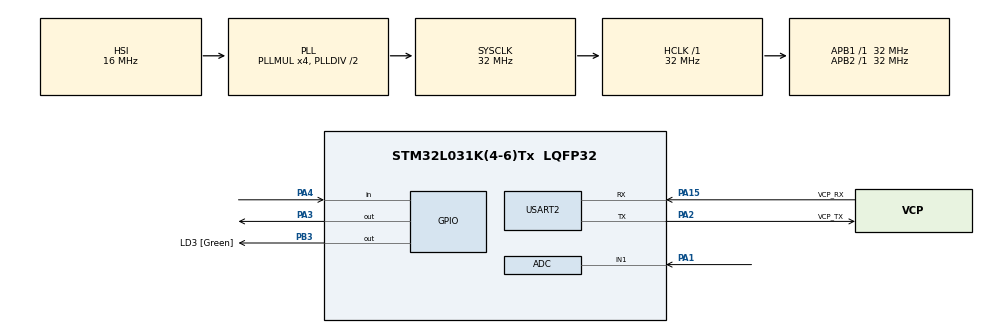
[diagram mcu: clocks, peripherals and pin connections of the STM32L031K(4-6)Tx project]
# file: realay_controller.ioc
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Mcu.Family=STM32L0
Mcu.Name=STM32L031K(4-6)Tx
Mcu.Package=LQFP32
PA0-CK_IN.Mode=SYS_WakeUp0
PA0-CK_IN.Signal=SYS_WKUP1
PA1.Mode=IN1
PA1.Signal=ADC_IN1
PA13.GPIO_Label=TMS
PA13.Mode=Serial_Wire
PA13.Signal=SYS_SWDIO
PA14.GPIO_Label=TCK
PA14.Mode=Serial_Wire
PA14.Signal=SYS_SWCLK
PA15.GPIO_Label=VCP_RX
PA15.Mode=Asynchronous
PA15.Signal=USART2_RX
PA2.GPIO_Label=VCP_TX
PA2.Mode=Asynchronous
PA2.Signal=USART2_TX
PA3.Signal=GPIO_Output
PA4.Signal=GPIO_Input
PB3.GPIO_Label=LD3 [Green]
PB3.Signal=GPIO_Output
PC14-OSC32_IN.Mode=LSE-External-Oscillator
PC14-OSC32_IN.Signal=RCC_OSC32_IN
PC15-OSC32_OUT.Mode=LSE-External-Oscillator
PC15-OSC32_OUT.Signal=RCC_OSC32_OUT
ProjectManager.HeapSize=0x200
ProjectManager.StackSize=0x400
ProjectManager.TargetToolchain=STM32CubeIDE
RCC.AHBFreq_Value=32000000
RCC.APB1Freq_Value=32000000
RCC.APB1TimFreq_Value=32000000
RCC.APB2Freq_Value=32000000
RCC.APB2TimFreq_Value=32000000
RCC.HCLKFreq_Value=32000000
RCC.HSE_VALUE=8000000
RCC.HSI16_VALUE=16000000
RCC.HSI48_VALUE=48000000
RCC.HSI_VALUE=16000000
RCC.MSI_VALUE=2097000
RCC.PLLMUL=RCC_PLLMUL_4
RCC.SYSCLKFreq_VALUE=32000000
RCC.SYSCLKSource=RCC_SYSCLKSOURCE_PLLCLK
RCC.VCOOutputFreq_Value=64000000
USART2.VirtualMode-Asynchronous=VM_ASYNC
board=NUCLEO-L031K6

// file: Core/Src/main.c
/* USER CODE BEGIN Header */
/**
  ******************************************************************************
  * @file           : main.c
  * @brief          : Main program body
  ******************************************************************************
  * @attention
  *
  * Copyright (c) 2025 STMicroelectronics.
  * All rights reserved.
  *
  * This software is licensed under terms that can be found in the LICENSE file
  * in the root directory of this software component.
  * If no LICENSE file comes with this software, it is provided AS-IS.
  *
  ******************************************************************************
  */
/* USER CODE END Header */
#include "main.h"

ADC_HandleTypeDef hadc;

UART_HandleTypeDef huart2;

/* USER CODE BEGIN PV */
uint32_t adc_value = 0; //stores value from adc input
float v_bat;
float v_adc;
HAL_StatusTypeDef sts;

#define ADC_MAX_VALUE 4095.0  // 12-bit ADC max value (0 - 4095)
#define VREF 3.3  // STM32 ADC reference voltage (V)
#define VOLTAGE_DIVIDER_RATIO 5.7  // (R1 + R2) / R2 = (47k + 10k) / 10k
/* USER CODE END PV */

void SystemClock_Config(void);
static void MX_GPIO_Init(void);
static void MX_USART2_UART_Init(void);
static void MX_ADC_Init(void);

/* USER CODE BEGIN 0 */
float battery_measure(){
	HAL_ADC_Start(&hadc);
	if (HAL_ADC_PollForConversion(&hadc, 100) == HAL_OK) {
		adc_value = HAL_ADC_GetValue(&hadc);  // Read ADC value
	}
	HAL_ADC_Stop(&hadc);  // Stop ADC

    // Convert ADC reading to voltage
    v_adc = (adc_value * VREF) / ADC_MAX_VALUE;
    v_bat = v_adc * VOLTAGE_DIVIDER_RATIO;  // Convert to actual battery voltage

    return v_bat;
}
/* USER CODE END 0 */

int main(void)
{

  /* USER CODE BEGIN 1 */
  uint32_t blink_rate = 1000; // Default blinking rate (1s)
  uint32_t last_toggle_time = 0;
  uint32_t last_button_check = 0;
  /* USER CODE END 1 */

  /* MCU Configuration--------------------------------------------------------*/

  /* Reset of all peripherals, Initializes the Flash interface and the Systick. */
  HAL_Init();

  /* Configure the system clock */
  SystemClock_Config();

  /* Initialize all configured peripherals */
  MX_GPIO_Init();
  MX_USART2_UART_Init();
  MX_ADC_Init();
  /* USER CODE BEGIN 2 */
  //Checks if SB flag is set (procedure for a wake up)
  if(__HAL_PWR_GET_FLAG(PWR_FLAG_SB) != RESET){
	  __HAL_PWR_CLEAR_FLAG(PWR_FLAG_SB); //clear the flag

//  	  for (int i = 0; i < 4; i++){    //indication of waking up MCU
//  		  HAL_GPIO_TogglePin(GPIOB, GPIO_PIN_14);
//  		  HAL_Delay(200);
//  	  }
  	  HAL_PWR_DisableWakeUpPin(PWR_WAKEUP_PIN1); //disables PA0
    }

    //Clear the WU flag (preparing for entering a standby mode)
    __HAL_PWR_CLEAR_FLAG(PWR_FLAG_WU);
  /* USER CODE END 2 */

  /* Infinite loop */
  /* USER CODE BEGIN WHILE */
  while (1)
  {
	  //Indicator of a low battery ()
	  if (battery_measure() < 3.1){
		  HAL_GPIO_TogglePin(GPIOB, GPIO_PIN_3); //blinking build-in green LED
		  HAL_Delay(100);
	  }

	  //functionality of entering to a standby mode (shrt press)
	  if (HAL_GPIO_ReadPin(GPIOA, GPIO_PIN_4)){ // Confirm press
//		  for (int i = 0; i < 6; i++){  //indication of entering standby mode
//	  		  HAL_GPIO_TogglePin(GPIOB, GPIO_PIN_3);
//	  		  HAL_Delay(700);
//		  }
		  HAL_PWR_EnableWakeUpPin(PWR_WAKEUP_PIN1); // Enable PA0 as Wake-Up
	  	  HAL_PWR_EnterSTANDBYMode(); // Enter Standby Mode
	  	  break;
	  }

	  //Functionality of changing frequency of a relay switching (long press)
	  uint32_t current_time = HAL_GetTick(); // Get current system time

	  //Handle LED blinking independently
	  if (current_time - last_toggle_time >= blink_rate) {
  		  HAL_GPIO_TogglePin(GPIOA, GPIO_PIN_3);  // Toggle steering signal to a relay
  		  last_toggle_time = current_time;  // Update last toggle time
 	  }

  	  //Check for button press (Debounced)
  	  if (HAL_GPIO_ReadPin(GPIOA, GPIO_PIN_4) == 1) { // Button Pressed
  		  HAL_Delay(50);  // Debounce
  	      uint32_t press_start = HAL_GetTick(); // Record button press time

  	      while (HAL_GPIO_ReadPin(GPIOA, GPIO_PIN_4) == 1) {  // While button is held
  	    	  uint32_t press_duration = HAL_GetTick() - press_start;
 	    	  if (press_duration > 1000 && HAL_GetTick() - last_button_check > 500) {
 	    		  // If button is held >1s and 500ms passed since last rate change
 	    		  blink_rate += 1000;  // Increase blink rate by 1s
 	    		  if (blink_rate > 10000) blink_rate = 1000;  // Reset to 1s after 10s
 	    		  last_button_check = HAL_GetTick();  // Update last button action time
 	    	  }
  	      }
  	      HAL_Delay(50);  // Final debounce
	  }
    /* USER CODE END WHILE */

  }
}

void SystemClock_Config(void)
{
  RCC_OscInitTypeDef RCC_OscInitStruct = {0};
  RCC_ClkInitTypeDef RCC_ClkInitStruct = {0};
  RCC_PeriphCLKInitTypeDef PeriphClkInit = {0};

  /** Configure the main internal regulator output voltage
  */
  __HAL_PWR_VOLTAGESCALING_CONFIG(PWR_REGULATOR_VOLTAGE_SCALE1);

  /** Initializes the RCC Oscillators according to the specified parameters
  * in the RCC_OscInitTypeDef structure.
  */
  RCC_OscInitStruct.OscillatorType = RCC_OSCILLATORTYPE_HSI;
  RCC_OscInitStruct.HSIState = RCC_HSI_ON;
  RCC_OscInitStruct.HSICalibrationValue = RCC_HSICALIBRATION_DEFAULT;
  RCC_OscInitStruct.PLL.PLLState = RCC_PLL_ON;
  RCC_OscInitStruct.PLL.PLLSource = RCC_PLLSOURCE_HSI;
  RCC_OscInitStruct.PLL.PLLMUL = RCC_PLLMUL_4;
  RCC_OscInitStruct.PLL.PLLDIV = RCC_PLLDIV_2;
  if (HAL_RCC_OscConfig(&RCC_OscInitStruct) != HAL_OK)
  {
    Error_Handler();
  }

  /** Initializes the CPU, AHB and APB buses clocks
  */
  RCC_ClkInitStruct.ClockType = RCC_CLOCKTYPE_HCLK|RCC_CLOCKTYPE_SYSCLK
                              |RCC_CLOCKTYPE_PCLK1|RCC_CLOCKTYPE_PCLK2;
  RCC_ClkInitStruct.SYSCLKSource = RCC_SYSCLKSOURCE_PLLCLK;
  RCC_ClkInitStruct.AHBCLKDivider = RCC_SYSCLK_DIV1;
  RCC_ClkInitStruct.APB1CLKDivider = RCC_HCLK_DIV1;
  RCC_ClkInitStruct.APB2CLKDivider = RCC_HCLK_DIV1;

  if (HAL_RCC_ClockConfig(&RCC_ClkInitStruct, FLASH_LATENCY_1) != HAL_OK)
  {
    Error_Handler();
  }
  PeriphClkInit.PeriphClockSelection = RCC_PERIPHCLK_USART2;
  PeriphClkInit.Usart2ClockSelection = RCC_USART2CLKSOURCE_PCLK1;
  if (HAL_RCCEx_PeriphCLKConfig(&PeriphClkInit) != HAL_OK)
  {
    Error_Handler();
  }
}

static void MX_ADC_Init(void)
{

  ADC_ChannelConfTypeDef sConfig = {0};

  /** Configure the global features of the ADC (Clock, Resolution, Data Alignment and number of conversion)
  */
  hadc.Instance = ADC1;
  hadc.Init.OversamplingMode = DISABLE;
  hadc.Init.ClockPrescaler = ADC_CLOCK_SYNC_PCLK_DIV2;
  hadc.Init.Resolution = ADC_RESOLUTION_12B;
  hadc.Init.SamplingTime = ADC_SAMPLETIME_1CYCLE_5;
  hadc.Init.ScanConvMode = ADC_SCAN_DIRECTION_FORWARD;
  hadc.Init.DataAlign = ADC_DATAALIGN_RIGHT;
  hadc.Init.ContinuousConvMode = DISABLE;
  hadc.Init.DiscontinuousConvMode = DISABLE;
  hadc.Init.ExternalTrigConvEdge = ADC_EXTERNALTRIGCONVEDGE_NONE;
  hadc.Init.ExternalTrigConv = ADC_SOFTWARE_START;
  hadc.Init.DMAContinuousRequests = DISABLE;
  hadc.Init.EOCSelection = ADC_EOC_SINGLE_CONV;
  hadc.Init.Overrun = ADC_OVR_DATA_PRESERVED;
  hadc.Init.LowPowerAutoWait = DISABLE;
  hadc.Init.LowPowerFrequencyMode = DISABLE;
  hadc.Init.LowPowerAutoPowerOff = DISABLE;
  if (HAL_ADC_Init(&hadc) != HAL_OK)
  {
    Error_Handler();
  }

  /** Configure for the selected ADC regular channel to be converted.
  */
  sConfig.Channel = ADC_CHANNEL_1;
  sConfig.Rank = ADC_RANK_CHANNEL_NUMBER;
  if (HAL_ADC_ConfigChannel(&hadc, &sConfig) != HAL_OK)
  {
    Error_Handler();
  }

}

static void MX_USART2_UART_Init(void)
{

  huart2.Instance = USART2;
  huart2.Init.BaudRate = 115200;
  huart2.Init.WordLength = UART_WORDLENGTH_8B;
  huart2.Init.StopBits = UART_STOPBITS_1;
  huart2.Init.Parity = UART_PARITY_NONE;
  huart2.Init.Mode = UART_MODE_TX_RX;
  huart2.Init.HwFlowCtl = UART_HWCONTROL_NONE;
  huart2.Init.OverSampling = UART_OVERSAMPLING_16;
  huart2.Init.OneBitSampling = UART_ONE_BIT_SAMPLE_DISABLE;
  huart2.AdvancedInit.AdvFeatureInit = UART_ADVFEATURE_NO_INIT;
  if (HAL_UART_Init(&huart2) != HAL_OK)
  {
    Error_Handler();
  }

}

static void MX_GPIO_Init(void)
{
  GPIO_InitTypeDef GPIO_InitStruct = {0};

  /* GPIO Ports Clock Enable */
  __HAL_RCC_GPIOC_CLK_ENABLE();
  __HAL_RCC_GPIOA_CLK_ENABLE();
  __HAL_RCC_GPIOB_CLK_ENABLE();

  /*Configure GPIO pin Output Level */
  HAL_GPIO_WritePin(GPIOA, GPIO_PIN_3, GPIO_PIN_RESET);

  /*Configure GPIO pin Output Level */
  HAL_GPIO_WritePin(LD3_GPIO_Port, LD3_Pin, GPIO_PIN_RESET);

  /*Configure GPIO pin : PA3 */
  GPIO_InitStruct.Pin = GPIO_PIN_3;
  GPIO_InitStruct.Mode = GPIO_MODE_OUTPUT_PP;
  GPIO_InitStruct.Pull = GPIO_NOPULL;
  GPIO_InitStruct.Speed = GPIO_SPEED_FREQ_LOW;
  HAL_GPIO_Init(GPIOA, &GPIO_InitStruct);

  /*Configure GPIO pin : PA4 */
  GPIO_InitStruct.Pin = GPIO_PIN_4;
  GPIO_InitStruct.Mode = GPIO_MODE_INPUT;
  GPIO_InitStruct.Pull = GPIO_NOPULL;
  HAL_GPIO_Init(GPIOA, &GPIO_InitStruct);

  /*Configure GPIO pin : LD3_Pin */
  GPIO_InitStruct.Pin = LD3_Pin;
  GPIO_InitStruct.Mode = GPIO_MODE_OUTPUT_PP;
  GPIO_InitStruct.Pull = GPIO_NOPULL;
  GPIO_InitStruct.Speed = GPIO_SPEED_FREQ_LOW;
  HAL_GPIO_Init(LD3_GPIO_Port, &GPIO_InitStruct);

}

void Error_Handler(void)
{
  __disable_irq();
  while (1)
  {
  }
}
